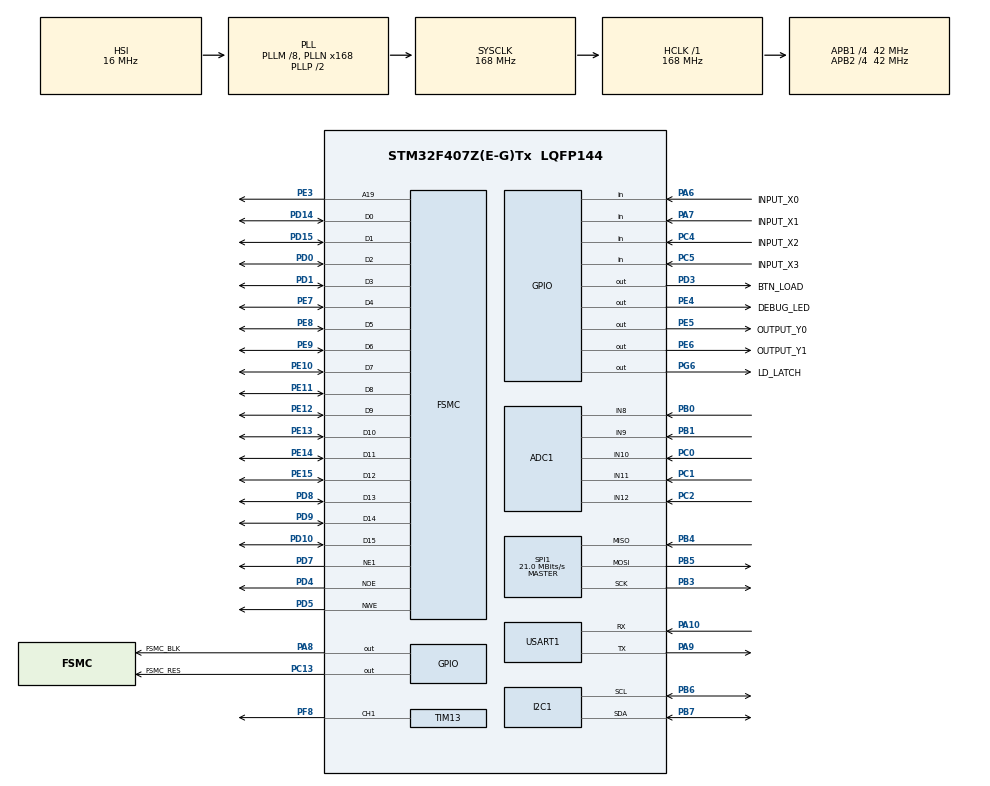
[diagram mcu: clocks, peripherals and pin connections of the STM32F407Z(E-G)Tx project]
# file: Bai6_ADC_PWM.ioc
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ADC1.Channel-0\#ChannelRegularConversion=ADC_CHANNEL_8
ADC1.Channel-1\#ChannelRegularConversion=ADC_CHANNEL_9
ADC1.Channel-2\#ChannelRegularConversion=ADC_CHANNEL_10
ADC1.Channel-3\#ChannelRegularConversion=ADC_CHANNEL_11
ADC1.Channel-4\#ChannelRegularConversion=ADC_CHANNEL_12
ADC1.NbrOfConversion=5
ADC1.NbrOfConversionFlag=1
ADC1.Rank-0\#ChannelRegularConversion=1
ADC1.Rank-1\#ChannelRegularConversion=2
ADC1.Rank-2\#ChannelRegularConversion=3
ADC1.Rank-3\#ChannelRegularConversion=4
ADC1.Rank-4\#ChannelRegularConversion=5
ADC1.SamplingTime-0\#ChannelRegularConversion=ADC_SAMPLETIME_3CYCLES
ADC1.SamplingTime-1\#ChannelRegularConversion=ADC_SAMPLETIME_3CYCLES
ADC1.SamplingTime-2\#ChannelRegularConversion=ADC_SAMPLETIME_3CYCLES
ADC1.SamplingTime-3\#ChannelRegularConversion=ADC_SAMPLETIME_3CYCLES
ADC1.SamplingTime-4\#ChannelRegularConversion=ADC_SAMPLETIME_3CYCLES
ADC1.ScanConvMode=ENABLE
ADC1.master=1
Dma.ADC1.0.Direction=DMA_PERIPH_TO_MEMORY
Dma.ADC1.0.FIFOMode=DMA_FIFOMODE_DISABLE
Dma.ADC1.0.Instance=DMA2_Stream0
Dma.ADC1.0.MemDataAlignment=DMA_MDATAALIGN_HALFWORD
Dma.ADC1.0.MemInc=DMA_MINC_ENABLE
Dma.ADC1.0.Mode=DMA_CIRCULAR
Dma.ADC1.0.PeriphDataAlignment=DMA_PDATAALIGN_HALFWORD
Dma.ADC1.0.PeriphInc=DMA_PINC_DISABLE
Dma.ADC1.0.Priority=DMA_PRIORITY_LOW
Dma.Request0=ADC1
FSMC.AddressSetupTime1=0xf
FSMC.BusTurnAroundDuration1=0
FSMC.DataSetupTime1=60
FSMC.ExtendedAddressSetupTime1=8
FSMC.ExtendedBusTurnAroundDuration1=0
FSMC.ExtendedDataSetupTime1=9
FSMC.ExtendedMode1=FSMC_EXTENDED_MODE_ENABLE
Mcu.Family=STM32F4
Mcu.Name=STM32F407Z(E-G)Tx
Mcu.Package=LQFP144
NVIC.DMA2_Stream0_IRQn=true\:0\:0\:false\:false\:true\:false\:true
NVIC.PriorityGroup=NVIC_PRIORITYGROUP_4
NVIC.TIM2_IRQn=true\:0\:0\:false\:false\:true\:true\:true
NVIC.USART1_IRQn=true\:0\:0\:false\:false\:true\:true\:true
PA10.Mode=Asynchronous
PA10.Signal=USART1_RX
PA13.Mode=Serial_Wire
PA13.Signal=SYS_JTMS-SWDIO
PA14.Mode=Serial_Wire
PA14.Signal=SYS_JTCK-SWCLK
PA6.GPIO_Label=INPUT_X0
PA6.Signal=GPIO_Input
PA7.GPIO_Label=INPUT_X1
PA7.Signal=GPIO_Input
PA8.GPIO_Label=FSMC_BLK
PA8.Signal=GPIO_Output
PA9.Mode=Asynchronous
PA9.Signal=USART1_TX
PB0.Signal=ADCx_IN8
PB1.Signal=ADCx_IN9
PB3.Mode=Full_Duplex_Master
PB3.Signal=SPI1_SCK
PB4.Mode=Full_Duplex_Master
PB4.Signal=SPI1_MISO
PB5.Mode=Full_Duplex_Master
PB5.Signal=SPI1_MOSI
PB6.Mode=I2C
PB6.Signal=I2C1_SCL
PB7.Mode=I2C
PB7.Signal=I2C1_SDA
PC0.Signal=ADCx_IN10
PC1.Signal=ADCx_IN11
PC13-ANTI_TAMP.GPIO_Label=FSMC_RES
PC13-ANTI_TAMP.Signal=GPIO_Output
PC2.Signal=ADCx_IN12
PC4.GPIO_Label=INPUT_X2
PC4.Signal=GPIO_Input
PC5.GPIO_Label=INPUT_X3
PC5.Signal=GPIO_Input
PD0.Signal=FSMC_D2_DA2
PD1.Signal=FSMC_D3_DA3
PD10.Signal=FSMC_D15_DA15
PD14.Signal=FSMC_D0_DA0
PD15.Signal=FSMC_D1_DA1
PD3.GPIO_Label=BTN_LOAD
PD3.Signal=GPIO_Output
PD4.Signal=FSMC_NOE
PD5.Signal=FSMC_NWE
PD7.Mode=NorPsramChipSelect1_1
PD7.Signal=FSMC_NE1
PD8.Signal=FSMC_D13_DA13
PD9.Signal=FSMC_D14_DA14
PE10.Signal=FSMC_D7_DA7
PE11.Signal=FSMC_D8_DA8
PE12.Signal=FSMC_D9_DA9
PE13.Signal=FSMC_D10_DA10
PE14.Signal=FSMC_D11_DA11
PE15.Signal=FSMC_D12_DA12
PE3.Signal=FSMC_A19
PE4.GPIO_Label=DEBUG_LED
PE4.Signal=GPIO_Output
PE5.GPIO_Label=OUTPUT_Y0
PE5.Signal=GPIO_Output
PE6.GPIO_Label=OUTPUT_Y1
PE6.Signal=GPIO_Output
PE7.Signal=FSMC_D4_DA4
PE8.Signal=FSMC_D5_DA5
PE9.Signal=FSMC_D6_DA6
PF8.Signal=S_TIM13_CH1
PG6.GPIO_Label=LD_LATCH
PG6.Signal=GPIO_Output
PH0-OSC_IN.Mode=HSE-External-Oscillator
PH0-OSC_IN.Signal=RCC_OSC_IN
PH1-OSC_OUT.Mode=HSE-External-Oscillator
PH1-OSC_OUT.Signal=RCC_OSC_OUT
ProjectManager.HeapSize=0x200
ProjectManager.StackSize=0x400
ProjectManager.TargetToolchain=STM32CubeIDE
RCC.48MHZClocksFreq_Value=84000000
RCC.AHBFreq_Value=168000000
RCC.APB1CLKDivider=RCC_HCLK_DIV4
RCC.APB1Freq_Value=42000000
RCC.APB1TimFreq_Value=84000000
RCC.APB2CLKDivider=RCC_HCLK_DIV4
RCC.APB2Freq_Value=42000000
RCC.APB2TimFreq_Value=84000000
RCC.CortexFreq_Value=168000000
RCC.HCLKFreq_Value=168000000
RCC.HSE_VALUE=8000000
RCC.HSI_VALUE=16000000
RCC.LSE_VALUE=32768
RCC.PLLM=8
RCC.PLLN=168
RCC.SYSCLKFreq_VALUE=168000000
RCC.SYSCLKSource=RCC_SYSCLKSOURCE_PLLCLK
RCC.VCOOutputFreq_Value=336000000
SH.ADCx_IN10.0=ADC1_IN10,IN10
SH.ADCx_IN11.0=ADC1_IN11,IN11
SH.ADCx_IN12.0=ADC1_IN12,IN12
SH.ADCx_IN8.0=ADC1_IN8,IN8
SH.ADCx_IN9.0=ADC1_IN9,IN9
SH.FSMC_A19.0=FSMC_A19,A19_1
SH.FSMC_D0_DA0.0=FSMC_D0,16b-d1
SH.FSMC_D10_DA10.0=FSMC_D10,16b-d1
SH.FSMC_D11_DA11.0=FSMC_D11,16b-d1
SH.FSMC_D12_DA12.0=FSMC_D12,16b-d1
SH.FSMC_D13_DA13.0=FSMC_D13,16b-d1
SH.FSMC_D14_DA14.0=FSMC_D14,16b-d1
SH.FSMC_D15_DA15.0=FSMC_D15,16b-d1
SH.FSMC_D1_DA1.0=FSMC_D1,16b-d1
SH.FSMC_D2_DA2.0=FSMC_D2,16b-d1
SH.FSMC_D3_DA3.0=FSMC_D3,16b-d1
SH.FSMC_D4_DA4.0=FSMC_D4,16b-d1
SH.FSMC_D5_DA5.0=FSMC_D5,16b-d1
SH.FSMC_D6_DA6.0=FSMC_D6,16b-d1
SH.FSMC_D7_DA7.0=FSMC_D7,16b-d1
SH.FSMC_D8_DA8.0=FSMC_D8,16b-d1
SH.FSMC_D9_DA9.0=FSMC_D9,16b-d1
SH.FSMC_NOE.0=FSMC_NOE,Lcd1
SH.FSMC_NWE.0=FSMC_NWE,Lcd1
SH.S_TIM13_CH1.0=TIM13_CH1,PWM Generation1 CH1
SPI1.BaudRatePrescaler=SPI_BAUDRATEPRESCALER_2
SPI1.CalculateBaudRate=21.0 MBits/s
SPI1.Direction=SPI_DIRECTION_2LINES
SPI1.Mode=SPI_MODE_MASTER
SPI1.VirtualType=VM_MASTER
TIM13.Channel=TIM_CHANNEL_1
TIM13.Period=100-1
TIM13.Prescaler=840-1
TIM2.Period=100-1
TIM2.Prescaler=840-1
USART1.VirtualMode=VM_ASYNC
VP_TIM13_VS_ClockSourceINT.Mode=Enable_Timer
VP_TIM2_VS_ClockSourceINT.Mode=Internal
board=custom

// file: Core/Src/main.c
/* USER CODE BEGIN Header */
/**
  ******************************************************************************
  * @file           : main.c
  * @brief          : Main program body
  ******************************************************************************
  * @attention
  *
  * <h2><center>&copy; Copyright (c) 2023 STMicroelectronics.
  * All rights reserved.</center></h2>
  *
  * This software component is licensed by ST under BSD 3-Clause license,
  * the "License"; You may not use this file except in compliance with the
  * License. You may obtain a copy of the License at:
  *                        opensource.org/licenses/BSD-3-Clause
  *
  ******************************************************************************
  */
/* USER CODE END Header */
#include "main.h"
#include "adc.h"
#include "dma.h"
#include "i2c.h"
#include "spi.h"
#include "tim.h"
#include "usart.h"
#include "gpio.h"
#include "fsmc.h"

/* USER CODE BEGIN Includes */
#include "software_timer.h"
#include "led_7seg.h"
#include "button.h"
#include "lcd.h"
#include "picture.h"
#include "ds3231.h"
#include "sensor.h"
#include "buzzer.h"
#include "uart.h"
/* USER CODE END Includes */

/* USER CODE BEGIN PTD */
const int HUMID_MIN = 42;
const int HUMID_MAX = 3704;
int mode = 0;
float power, light, temp, humid;
int hour, minute, second;
const int padding = 10;
float old_power = 0;
int x = padding;
/* USER CODE END PTD */

void SystemClock_Config(void);
/* USER CODE BEGIN PFP */
void system_init();
void test_LedDebug();
void test_Buzzer();
void test_Adc();
/* USER CODE END PFP */

int main(void)
{

  /* MCU Configuration--------------------------------------------------------*/

  /* Reset of all peripherals, Initializes the Flash interface and the Systick. */
  HAL_Init();

  /* Configure the system clock */
  SystemClock_Config();

  /* Initialize all configured peripherals */
  MX_GPIO_Init();
  MX_TIM2_Init();
  MX_SPI1_Init();
  MX_FSMC_Init();
  MX_I2C1_Init();
  MX_TIM13_Init();
  MX_DMA_Init();
  MX_ADC1_Init();
  MX_USART1_UART_Init();
  /* USER CODE BEGIN 2 */
  system_init();
  /* USER CODE END 2 */

  /* Infinite loop */
  /* USER CODE BEGIN WHILE */
 lcd_Clear(BLACK);
 setup_adc();
  while (1)
  {
	  while(!flag_timer2);
	  flag_timer2 = 0;
	  button_Scan();
	  button_Handle();
	  test_LedDebug();
	  if(mode == 0) test_Adc();
	  if(mode == 1) plot_graph();
	  digital_clock();
	  test_Buzzer();
    /* USER CODE END WHILE */

  }
}

void SystemClock_Config(void)
{
  RCC_OscInitTypeDef RCC_OscInitStruct = {0};
  RCC_ClkInitTypeDef RCC_ClkInitStruct = {0};

  /** Configure the main internal regulator output voltage
  */
  __HAL_RCC_PWR_CLK_ENABLE();
  __HAL_PWR_VOLTAGESCALING_CONFIG(PWR_REGULATOR_VOLTAGE_SCALE1);
  /** Initializes the RCC Oscillators according to the specified parameters
  * in the RCC_OscInitTypeDef structure.
  */
  RCC_OscInitStruct.OscillatorType = RCC_OSCILLATORTYPE_HSI;
  RCC_OscInitStruct.HSIState = RCC_HSI_ON;
  RCC_OscInitStruct.HSICalibrationValue = RCC_HSICALIBRATION_DEFAULT;
  RCC_OscInitStruct.PLL.PLLState = RCC_PLL_ON;
  RCC_OscInitStruct.PLL.PLLSource = RCC_PLLSOURCE_HSI;
  RCC_OscInitStruct.PLL.PLLM = 8;
  RCC_OscInitStruct.PLL.PLLN = 168;
  RCC_OscInitStruct.PLL.PLLP = RCC_PLLP_DIV2;
  RCC_OscInitStruct.PLL.PLLQ = 4;
  if (HAL_RCC_OscConfig(&RCC_OscInitStruct) != HAL_OK)
  {
    Error_Handler();
  }
  /** Initializes the CPU, AHB and APB buses clocks
  */
  RCC_ClkInitStruct.ClockType = RCC_CLOCKTYPE_HCLK|RCC_CLOCKTYPE_SYSCLK
                              |RCC_CLOCKTYPE_PCLK1|RCC_CLOCKTYPE_PCLK2;
  RCC_ClkInitStruct.SYSCLKSource = RCC_SYSCLKSOURCE_PLLCLK;
  RCC_ClkInitStruct.AHBCLKDivider = RCC_SYSCLK_DIV1;
  RCC_ClkInitStruct.APB1CLKDivider = RCC_HCLK_DIV4;
  RCC_ClkInitStruct.APB2CLKDivider = RCC_HCLK_DIV4;

  if (HAL_RCC_ClockConfig(&RCC_ClkInitStruct, FLASH_LATENCY_5) != HAL_OK)
  {
    Error_Handler();
  }
}

/* USER CODE BEGIN 4 */
void system_init(){
	  timer_init();
	  button_init();
	  lcd_init();
	  uart_init_rs232();
	  sensor_init();
	  buzzer_init();
	  setTimer2(50);
}

uint8_t count_led_debug = 0;

void test_LedDebug(){
	count_led_debug = (count_led_debug + 1)%20;
	if(count_led_debug == 0){
		HAL_GPIO_TogglePin(DEBUG_LED_GPIO_Port, DEBUG_LED_Pin);
	}
}

uint8_t isButtonUp()
{
    if (button_count[3] == 1)
        return 1;
    else
        return 0;
}

uint8_t isButtonDown()
{
    if (button_count[7] == 1)
        return 1;
    else
        return 0;
}

uint8_t isButtonRight()
{
    if (button_count[11] == 1)
        return 1;
    else
        return 0;
}

uint8_t count_adc = 0;

void button_Handle() {
    if (button_count[0] == 1) {
    	mode++;
    	lcd_Clear(BLACK);
    	if (mode > 1) mode = 0;
    	if(mode == 0)
    		setup_adc();
    	if (mode == 1){
    		draw_axes();
    		x = 0;
    		old_power = 0;
    	}
    }
}

void setup_adc(){
	lcd_ShowStr(10, 100, "Power:", RED, BLACK, 16, 0);
	lcd_ShowStr(200, 100, "mW", RED, BLACK, 16, 0);
	lcd_ShowStr(10, 120, "Light:", RED, BLACK, 16, 0);
	lcd_ShowStr(10, 140, "Humidity:", RED, BLACK, 16, 0);
	lcd_ShowStr(180, 140, "%", RED, BLACK, 16, 0);
	lcd_ShowStr(10, 160, "Temperature:", RED, BLACK, 16, 0);
	lcd_ShowStr(180, 160, "C", RED, BLACK, 16, 0);
}

void draw_axes() {

    // Draw X-axis (horizontal line) with padding
    lcd_DrawLine(0, 300-padding, 240, 300-padding, WHITE);  // X-axis starts at (10,290) and ends at (240,290)

    // Draw Y-axis (vertical line) with padding
    lcd_DrawLine(padding, 0, padding, 300, WHITE);  // Y-axis starts at (10,10) and ends at (10,300)
}

void plot_graph(){
	count_adc = (count_adc + 1)%20;
	if(count_adc == 0){
		sensor_Read();
		x+=10;
		if(x > 240){
			lcd_Clear(BLACK);
			draw_axes();
			x = padding + 10;
		}
		power = sensor_GetVoltage()*sensor_GetCurrent();
//		float a = 900;
//		float b = a - power;
//		lcd_ShowFloatNum(100, 120, b, 6, RED, BLACK, 16);
		if(old_power != 0)
			lcd_DrawLine(x - 10, 320-(old_power*3/2), x, 320-(power*3/2), RED);  // X-axis starts at (10,10) and ends at (239,10)
		lcd_ShowFloatNum(100, 100, power, 8, RED, BLACK, 16);
		old_power =  power;
	}
}

void test_Adc(){
	count_adc = (count_adc + 1)%20;
	if(count_adc == 0){
		sensor_Read();
//		lcd_ShowStr(10, 60, "Voltage:", RED, BLACK, 16, 0);
//		lcd_ShowFloatNum(130, 60, sensor_GetVoltage(), 6, RED, BLACK, 16);
//		lcd_ShowStr(10, 80, "Current:", RED, BLACK, 16, 0);
//		lcd_ShowFloatNum(130, 80, sensor_GetCurrent(), 6, RED, BLACK, 16);
		int light = sensor_GetLight();
		lcd_ShowIntNum(130, 120, light, 4, RED, BLACK, 16);
		if(light > 1000)
				lcd_ShowStr(180, 120, "Strong", RED, BLACK, 16, 0);
			else
				lcd_ShowStr(180, 120, "Weak  ", RED, BLACK, 16, 0);
		lcd_ShowFloatNum(130, 100, sensor_GetVoltage()*sensor_GetCurrent(), 8, RED, BLACK, 16);
		float humid = (sensor_GetPotentiometer()-HUMID_MIN)*100/HUMID_MAX;
		lcd_ShowIntNum(130, 140, humid, 4, RED, BLACK, 16);
		if (humid >= 70){
			buzzer_SetVolume(50);
			// Send UART
			uart_Rs232SendString("!WARNING!");

		}
		else{
			buzzer_SetVolume(0);
		}
		lcd_ShowFloatNum(130, 160,sensor_GetTemperature(), 4, RED, BLACK, 16);
	}
}

void test_Buzzer(){
	if(isButtonUp()){
		buzzer_SetVolume(50);
	}

	if(isButtonDown()){
		buzzer_SetVolume(0);
	}

	if(isButtonRight()){
		buzzer_SetVolume(25);
	}

}

int hr = 17;
int min = 59;
int sec = 58;
uint8_t count_led = 0;
uint8_t count_colon = 0;
void digital_clock(){
	count_led = (count_led+ 1)%10;
	if(count_led == 0){
		sec++;
		if(sec >= 60){
			min++;
			sec = 0;
			if(min >= 60){
				hr++;
				min=0;
				if(hr>=24){
					hr=0;
				}
			}
		}

	}
	led7_SetDigit(hr/10, 0, 0);
	led7_SetDigit(hr%10, 1, 0);
	led7_SetDigit(min/10, 2, 0);
	led7_SetDigit(min%10, 3, 0);

	count_colon = (count_colon+1)%10;
	if(count_colon > 5){
		led7_SetColon(1);
	}
	else{
		led7_SetColon(0);
	}
}
/* USER CODE END 4 */

void Error_Handler(void)
{
  __disable_irq();
  while (1)
  {
  }
}

/************************ (C) COPYRIGHT STMicroelectronics *****END OF FILE****/
